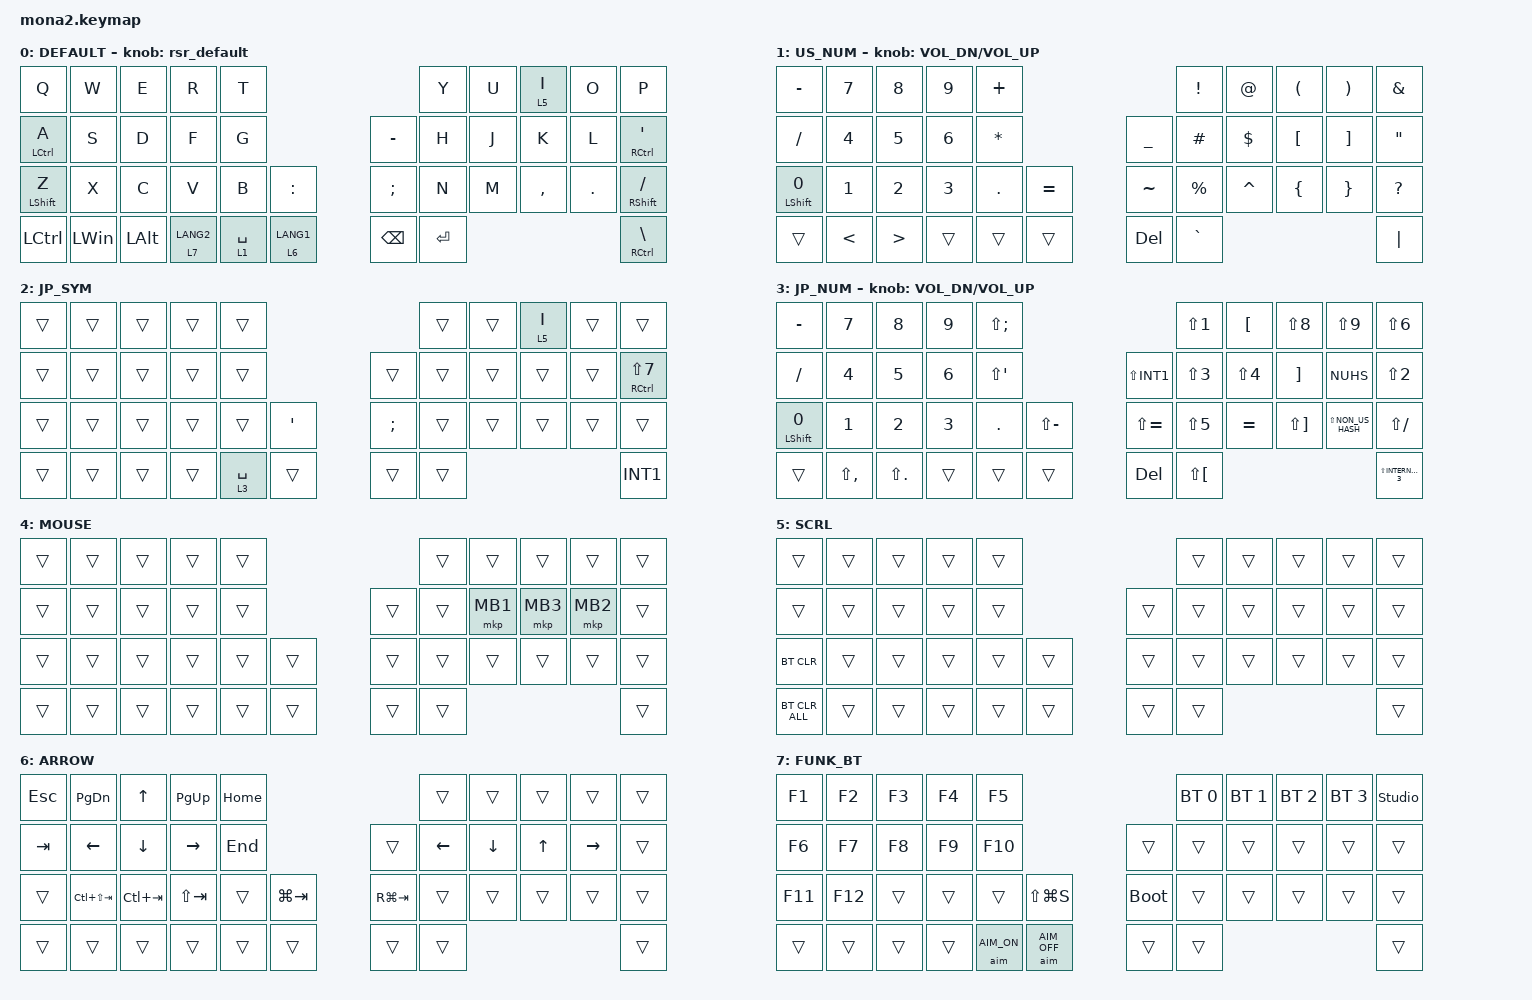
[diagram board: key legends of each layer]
#include <input/processors.dtsi>
#include <input/processors/runtime-input-processor.dtsi>
#include <dt-bindings/zmk/input_transform.h>
#include <zephyr/dt-bindings/input/input-event-codes.h>
#include <behaviors/anti_idle_mode.dtsi>
#include <dt-bindings/anti_idle_mode.h>
#include <behaviors.dtsi>
#include <behaviors/runtime-sensor-rotate.dtsi>
#include <behaviors/battery_history_request.dtsi>
#include <dt-bindings/zmk/bt.h>
#include <dt-bindings/zmk/keys.h>
#include <dt-bindings/zmk/pointing.h>

#define ZMK_POINTING_DEFAULT_SCRL_VAL 100
#define MOUSE 4
#define SCROLL 5

&mt {
    flavor = "balanced";
    quick-tap-ms = <0>;
};

&lt {
    quick-tap-ms = <300>;
    flavor = "balanced";
};

/ {
    anti_idle {
        compatible = "zmk,anti-idle-generic";
        interval-ms = <60000>;              // 実行間隔（ms）
        bindings = <&mmv MOVE_DOWN &mmv MOVE_UP>;

        // bindings = <&kp RSFT>;

        tap_ms = <40>;                      // 各動作の押し時間
        wait_ms = <200>;                    // 動作間の待ち時間
    };

    combos {
        compatible = "zmk,combos";

        tab {
            bindings = <&kp TAB>;
            key-positions = <0 1>;
        };

        shift_tab {
            bindings = <&kp LS(TAB)>;
            key-positions = <1 2>;
        };

        jp {
            bindings = <&to 2>;
            key-positions = <38 37>;
        };

        us {
            bindings = <&to 0>;
            key-positions = <37 36>;
        };
    };

    macros {
        to_layer_0: to_layer_0 {
            compatible = "zmk,behavior-macro-one-param";
            #binding-cells = <1>;
            bindings = <&to 0 &macro_param_1to1 &kp MACRO_PLACEHOLDER>;
            label = "TO_LAYER_0";
        };
    };

    behaviors {
        lt_to_layer_0: lt_to_layer_0 {
            compatible = "zmk,behavior-hold-tap";
            label = "LAYER_TAP_TO_0";
            bindings = <&mo>, <&to_layer_0>;

            #binding-cells = <2>;
            tapping-term-ms = <200>;
        };

        // エンコーダ用 runtime-configurable sensor rotate
        // デフォルトはスクロール (cw=SCRL_UP, ccw=SCRL_DOWN)
        // DYA Studio Web UI から レイヤーごとに cw/ccw の binding を
        // kp C_VOL_UP/DN や kp LEFT/RIGHT などへ動的変更可能
        rsr_default: rsr_default {
            compatible = "zmk,behavior-runtime-sensor-rotate";
            #sensor-binding-cells = <0>;
            tap-ms = <20>;
            cw-binding = <&msc SCRL_UP>;
            ccw-binding = <&msc SCRL_DOWN>;
        };

        scroll_up_down: mouse_wheel_up_down {
            compatible = "zmk,behavior-sensor-rotate";
            #sensor-binding-cells = <0>;
            bindings = <&msc SCRL_UP>, <&msc SCRL_DOWN>;
            tap-ms = <20>;
        };

        scroll_right_left: mouse_wheel_right_left {
            compatible = "zmk,behavior-sensor-rotate";
            #sensor-binding-cells = <0>;
            bindings = <&msc SCRL_LEFT>, <&msc SCRL_RIGHT>;
            tap-ms = <20>;
        };
    };

    keymap {
        compatible = "zmk,keymap";

        default_layer {
            display-name = "DEFAULT";
            bindings = <
&kp Q             &kp W         &kp E         &kp R        &kp T                                      &kp Y      &kp U  &lt 5 I    &kp O    &kp P
&mt LCTRL A       &kp S         &kp D         &kp F        &kp G                       &kp MINUS      &kp H      &kp J  &kp K      &kp L    &mt RIGHT_CONTROL SINGLE_QUOTE
&mt LEFT_SHIFT Z  &kp X         &kp C         &kp V        &kp B        &kp COLON      &kp SEMICOLON  &kp N      &kp M  &kp COMMA  &kp DOT  &mt RIGHT_SHIFT SLASH
&kp LCTRL         &kp LEFT_WIN  &kp LEFT_ALT  &lt 7 LANG2  &lt 1 SPACE  &lt 6 LANG1    &kp BACKSPACE  &kp ENTER                             &mt RCTRL BACKSLASH
            >;

            sensor-bindings = <&rsr_default>;
        };

        US_NUM {
            display-name = "US_NUM";
            bindings = <
&kp MINUS                &kp NUMBER_7   &kp NUMBER_8      &kp NUMBER_9  &kp PLUS                                   &kp EXCLAMATION  &kp AT_SIGN  &kp LEFT_PARENTHESIS  &kp RIGHT_PARENTHESIS  &kp AMPERSAND
&kp SLASH                &kp NUMBER_4   &kp NUMBER_5      &kp NUMBER_6  &kp ASTERISK               &kp UNDERSCORE  &kp HASH         &kp DOLLAR   &kp LEFT_BRACKET      &kp RIGHT_BRACKET      &kp DOUBLE_QUOTES
&mt LEFT_SHIFT NUMBER_0  &kp NUMBER_1   &kp NUMBER_2      &kp NUMBER_3  &kp PERIOD    &kp EQUAL    &kp TILDE       &kp PERCENT      &kp CARET    &kp LEFT_BRACE        &kp RIGHT_BRACE        &kp QUESTION
&trans                   &kp LESS_THAN  &kp GREATER_THAN  &trans        &trans        &trans       &kp DELETE      &kp GRAVE                                                                  &kp PIPE
            >;

            sensor-bindings = <&inc_dec_kp C_VOL_DN C_VOL_UP>;
        };

        JP_Symbols {
            display-name = "JP_SYM";
            bindings = <
&trans  &trans  &trans  &trans  &trans                                          &trans  &trans  &lt 5 I  &trans  &trans
&trans  &trans  &trans  &trans  &trans                           &trans         &trans  &trans  &trans   &trans  &mt RIGHT_CONTROL LS(N7)
&trans  &trans  &trans  &trans  &trans       &kp SINGLE_QUOTE    &kp SEMICOLON  &trans  &trans  &trans   &trans  &trans
&trans  &trans  &trans  &trans  &lt 3 SPACE  &trans              &trans         &trans                           &kp INT1
            >;
        };

        JP_NUM {
            display-name = "JP_NUM";
            bindings = <
&kp MINUS                &kp NUMBER_7   &kp NUMBER_8    &kp NUMBER_9  &kp LS(SEMICOLON)                                  &kp LS(NUMBER_1)      &kp LEFT_BRACKET  &kp LS(NUMBER_8)       &kp LS(NUMBER_9)     &kp LS(NUMBER_6)
&kp SLASH                &kp NUMBER_4   &kp NUMBER_5    &kp NUMBER_6  &kp LS(SQT)                         &kp LS(INT1)   &kp LS(NUMBER_3)      &kp LS(NUMBER_4)  &kp RIGHT_BRACKET      &kp NUHS             &kp LS(NUMBER_2)
&mt LEFT_SHIFT NUMBER_0  &kp NUMBER_1   &kp NUMBER_2    &kp NUMBER_3  &kp PERIOD         &kp LS(MINUS)    &kp LS(EQUAL)  &kp LS(NUMBER_5)      &kp EQUAL         &kp LS(RIGHT_BRACKET)  &kp LS(NON_US_HASH)  &kp LS(SLASH)
&trans                   &kp LS(COMMA)  &kp LS(PERIOD)  &trans        &trans             &trans           &kp DELETE     &kp LS(LEFT_BRACKET)                                                                &kp LS(INTERNATIONAL_3)
            >;

            sensor-bindings = <&inc_dec_kp C_VOL_DN C_VOL_UP>;
        };

        MOUSE {
            display-name = "MOUSE";
            bindings = <
&trans  &trans  &trans  &trans  &trans                    &trans  &trans    &trans    &trans    &trans
&trans  &trans  &trans  &trans  &trans            &trans  &trans  &mkp MB1  &mkp MB3  &mkp MB2  &trans
&trans  &trans  &trans  &trans  &trans  &trans    &trans  &trans  &trans    &trans    &trans    &trans
&trans  &trans  &trans  &trans  &trans  &trans    &trans  &trans                                &trans
            >;
        };

        SCROLL {
            display-name = "SCRL";
            bindings = <
&trans          &trans  &trans  &trans  &trans                    &trans  &trans  &trans  &trans  &trans
&trans          &trans  &trans  &trans  &trans            &trans  &trans  &trans  &trans  &trans  &trans
&bt BT_CLR      &trans  &trans  &trans  &trans  &trans    &trans  &trans  &trans  &trans  &trans  &trans
&bt BT_CLR_ALL  &trans  &trans  &trans  &trans  &trans    &trans  &trans                          &trans
            >;
        };

        ARROW {
            display-name = "ARROW";
            bindings = <
&kp ESCAPE  &kp PAGE_DOWN    &kp UP_ARROW  &kp PAGE_UP      &kp HOME                              &trans          &trans          &trans        &trans           &trans
&kp TAB     &kp LEFT_ARROW   &kp DOWN      &kp RIGHT_ARROW  &kp END                  &trans       &kp LEFT_ARROW  &kp DOWN_ARROW  &kp UP_ARROW  &kp RIGHT_ARROW  &trans
&trans      &kp LC(LS(TAB))  &kp LC(TAB)   &kp LS(TAB)      &trans    &kp LG(TAB)    &kp RG(TAB)  &trans          &trans          &trans        &trans           &trans
&trans      &trans           &trans        &trans           &trans    &trans         &trans       &trans                                                         &trans
            >;
        };

        FUNK_BT {
            display-name = "FUNK_BT";
            bindings = <
&kp F1   &kp F2   &kp F3  &kp F4  &kp F5                                     &bt BT_SEL 0  &bt BT_SEL 1  &bt BT_SEL 2  &bt BT_SEL 3  &studio_unlock
&kp F6   &kp F7   &kp F8  &kp F9  &kp F10                       &trans       &trans        &trans        &trans        &trans        &trans
&kp F11  &kp F12  &trans  &trans  &trans       &kp LS(LG(S))    &bootloader  &trans        &trans        &trans        &trans        &trans
&trans   &trans   &trans  &trans  &aim AIM_ON  &aim AIM_OFF     &trans       &trans                                                  &trans
            >;
        };
    };
};
